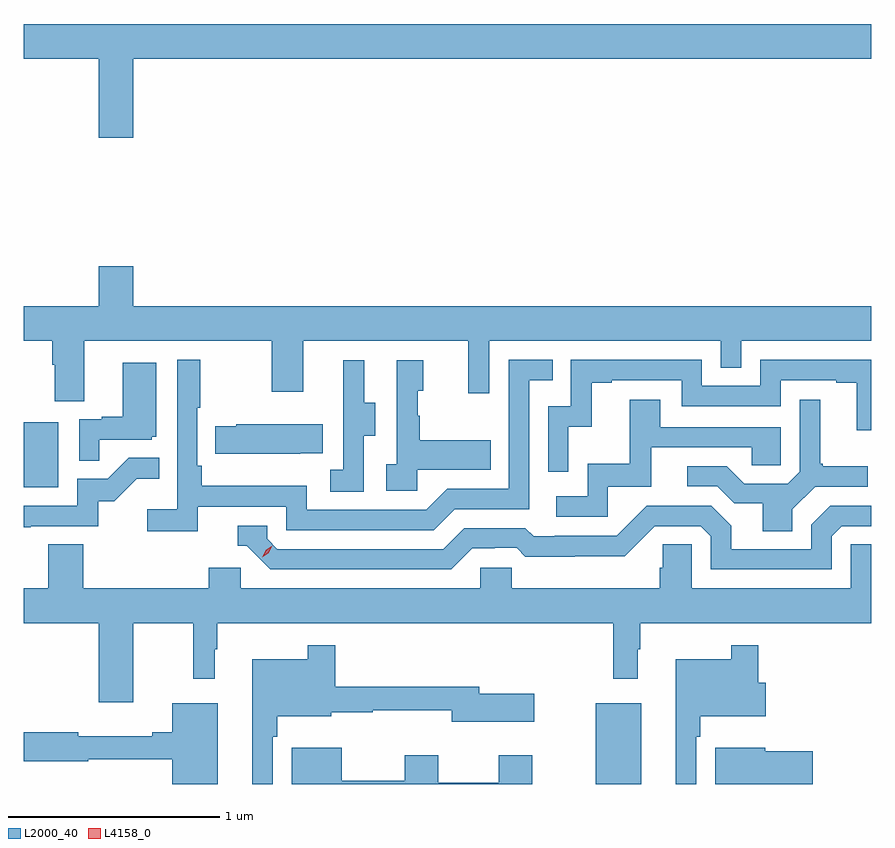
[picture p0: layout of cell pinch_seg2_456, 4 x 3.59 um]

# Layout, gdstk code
import gdstk
lib = gdstk.Library(unit=1e-6, precision=1e-09)
def R(c, l, rs):  # rectangles x0, y0, x1, y1
    for r in rs: c.add(gdstk.rectangle(r[:2], r[2:], *l))
def P(c, l, *ps):  # polygons
    for p in ps: c.add(gdstk.Polygon(p, *l))
L2000_40 = (2000, 40)
L4158_0 = (4158, 0)

pinch_seg2_456 = lib.new_cell('pinch_seg2_456')
R(pinch_seg2_456, L2000_40, [(922.598,596.26,922.813,596.641), (919.899,597.66,920.062,597.967)])
P(pinch_seg2_456, L2000_40, [(920.416,599.684),(923.899,599.684),(923.899,599.848),(919.899,599.848),(919.899,599.684),(920.252,599.684),(920.252,599.31),(920.416,599.31)],
  [(920.185,598.352),(921.07,598.352),(921.07,598.113),(921.217,598.113),(921.217,598.352),(921.998,598.352),(921.998,598.104),(922.095,598.104),(922.095,598.352),(923.19,598.352),(923.19,598.225),(923.286,598.225),(923.286,598.352),(923.899,598.352),(923.899,598.516),(920.416,598.516),(920.416,598.705),(920.252,598.705),(920.252,598.516),(919.899,598.516),(919.899,598.352),(920.033,598.352),(920.033,598.24),(920.045,598.24),(920.045,598.066),(920.185,598.066)],
  [(920.72,597.57),(921.138,597.57),(921.138,597.459),(921.835,597.459),(921.934,597.558),(922.284,597.558),(922.284,598.167),(922.397,598.167),(922.397,598.263),(922.188,598.263),(922.188,597.654),(921.897,597.654),(921.798,597.555),(921.234,597.555),(921.234,597.667),(920.738,597.667),(920.738,597.763),(920.718,597.763),(920.718,598.036),(920.731,598.036),(920.731,598.264),(920.622,598.264),(920.622,597.556),(920.481,597.556),(920.481,597.454),(920.72,597.454)],
  [(922.47,597.947),(922.58,597.947),(922.58,598.155),(922.675,598.155),(922.675,598.167),(923.004,598.167),(923.004,598.044),(923.472,598.044),(923.472,598.167),(923.735,598.167),(923.735,598.155),(923.831,598.155),(923.831,597.929),(923.899,597.929),(923.899,598.263),(923.376,598.263),(923.376,598.14),(923.1,598.14),(923.1,598.263),(922.482,598.263),(922.482,598.044),(922.374,598.044),(922.374,597.735),(922.47,597.735)],
  [(921.756,597.743),(922.103,597.743),(922.103,597.883),(921.769,597.883),(921.769,597.998),(921.759,597.998),(921.759,598.116),(921.784,598.116),(921.784,598.261),(921.66,598.261),(921.66,597.77),(921.609,597.77),(921.609,597.645),(921.756,597.645)],
  [(921.504,597.904),(921.559,597.904),(921.559,598.059),(921.505,598.059),(921.505,598.261),(921.407,598.261),(921.407,598.047),(921.408,598.047),(921.408,597.743),(921.345,597.743),(921.345,597.64),(921.504,597.64)],
  [(920.255,597.885),(920.502,597.885),(920.502,597.9),(920.524,597.9),(920.524,598.249),(920.366,598.249),(920.366,597.994),(920.267,597.994),(920.267,597.981),(920.16,597.981),(920.16,597.787),(920.255,597.787)],
  [(922.656,597.663),(922.861,597.663),(922.861,597.849),(923.335,597.849),(923.335,597.765),(923.472,597.765),(923.472,597.945),(922.903,597.945),(922.903,598.075),(922.759,598.075),(922.759,597.772),(922.56,597.772),(922.56,597.618),(922.413,597.618),(922.413,597.522),(922.656,597.522)],
  [(923.527,597.556),(923.634,597.663),(923.884,597.663),(923.884,597.76),(923.671,597.76),(923.671,597.772),(923.659,597.772),(923.659,598.075),(923.562,598.075),(923.562,597.735),(923.505,597.678),(923.299,597.678),(923.218,597.759),(923.031,597.759),(923.031,597.666),(923.172,597.666),(923.252,597.586),(923.387,597.586),(923.387,597.454),(923.527,597.454)],
  [(921.203,597.821),(921.311,597.821),(921.311,597.958),(920.901,597.958),(920.901,597.948),(920.803,597.948),(920.803,597.818),(921.203,597.818)],
  [(919.931,597.477),(920.25,597.477),(920.25,597.594),(920.326,597.594),(920.433,597.701),(920.537,597.701),(920.537,597.8),(920.393,597.8),(920.295,597.702),(920.151,597.702),(920.151,597.573),(919.899,597.573),(919.899,597.472),(919.931,597.472)],
  [(922.015,597.372),(922.122,597.372),(922.122,597.375),(922.225,597.375),(922.267,597.333),(922.5,597.333),(922.5,597.335),(922.736,597.335),(922.878,597.477),(923.094,597.477),(923.142,597.429),(923.142,597.273),(923.712,597.273),(923.712,597.429),(923.76,597.477),(923.899,597.477),(923.899,597.573),(923.706,597.573),(923.616,597.483),(923.616,597.369),(923.239,597.369),(923.239,597.479),(923.145,597.573),(922.839,597.573),(922.698,597.432),(922.405,597.432),(922.405,597.429),(922.306,597.429),(922.267,597.468),(921.978,597.468),(921.879,597.369),(921.096,597.369),(921.048,597.417),(921.048,597.48),(920.909,597.48),(920.909,597.384),(920.952,597.384),(921.063,597.273),(921.916,597.273)],
  [(920.416,597.02),(920.698,597.02),(920.698,596.757),(920.8,596.757),(920.8,596.897),(920.812,596.897),(920.812,597.02),(922.681,597.02),(922.681,596.757),(922.798,596.757),(922.798,596.897),(922.81,596.897),(922.81,597.02),(923.899,597.02),(923.899,597.392),(923.802,597.392),(923.802,597.184),(923.052,597.184),(923.052,597.392),(922.915,597.392),(922.915,597.282),(922.901,597.282),(922.901,597.184),(922.203,597.184),(922.203,597.282),(922.053,597.282),(922.053,597.184),(920.922,597.184),(920.922,597.282),(920.771,597.282),(920.771,597.184),(920.18,597.184),(920.18,597.392),(920.015,597.392),(920.015,597.184),(919.899,597.184),(919.899,597.02),(920.252,597.02),(920.252,596.646),(920.416,596.646)],
  [(921.075,596.483),(921.095,596.483),(921.095,596.579),(921.349,596.579),(921.349,596.598),(921.545,596.598),(921.545,596.609),(921.92,596.609),(921.92,596.555),(922.309,596.555),(922.309,596.685),(922.048,596.685),(922.048,596.719),(921.368,596.719),(921.368,596.914),(921.24,596.914),(921.24,596.848),(920.978,596.848),(920.978,596.26),(921.075,596.26)],
  [(923.073,596.483),(923.093,596.483),(923.093,596.579),(923.401,596.579),(923.401,596.737),(923.366,596.737),(923.366,596.914),(923.238,596.914),(923.238,596.848),(922.976,596.848),(922.976,596.26),(923.073,596.26)],
  [(920.815,596.641),(920.6,596.641),(920.6,596.504),(920.504,596.504),(920.504,596.485),(920.156,596.485),(920.156,596.504),(919.899,596.504),(919.899,596.368),(920.204,596.368),(920.204,596.376),(920.6,596.376),(920.6,596.26),(920.815,596.26)],
  [(923.623,596.414),(923.398,596.414),(923.398,596.431),(923.162,596.431),(923.162,596.26),(923.623,596.26)],
  [(922.3,596.395),(922.142,596.395),(922.142,596.267),(921.856,596.267),(921.856,596.395),(921.698,596.395),(921.698,596.275),(921.4,596.275),(921.4,596.431),(921.164,596.431),(921.164,596.26),(922.3,596.26)])
P(pinch_seg2_456, L4158_0, [(921.025,597.331),(921.025,597.331),(921.041,597.364),(921.071,597.384),(921.072,597.384),(921.072,597.384),(921.056,597.351),(921.025,597.331)])

lib.write_gds('pinch_seg2_456.gds')
